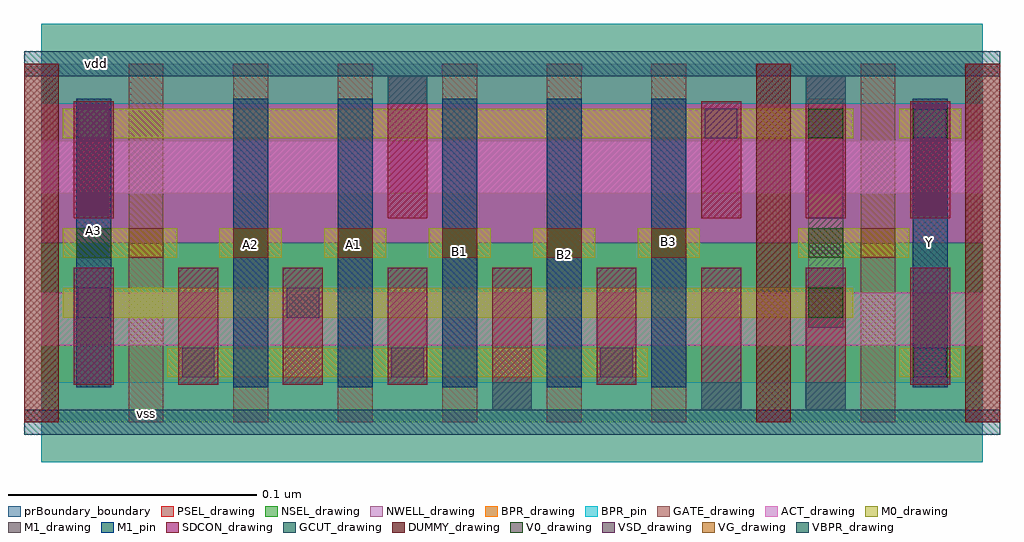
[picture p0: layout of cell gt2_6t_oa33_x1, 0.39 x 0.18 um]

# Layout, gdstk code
import gdstk
lib = gdstk.Library(unit=1e-6, precision=5e-10)
def R(c, l, rs):  # rectangles x0, y0, x1, y1
    for r in rs: c.add(gdstk.rectangle(r[:2], r[2:], *l))
def A(c, l, x, y, w, h, nx, ny, dx, dy):  # array of equal rectangles
    R(c, l, [(x+i*dx, y+j*dy, x+i*dx+w, y+j*dy+h) for i in range(nx) for j in range(ny)])
NWELL_drawing = (1, 0)
ACT_drawing = (2, 0)
GATE_drawing = (3, 0)
DUMMY_drawing = (4, 0)
GCUT_drawing = (5, 0)
NSEL_drawing = (6, 0)
PSEL_drawing = (7, 0)
BPR_drawing = (8, 0)
BPR_pin = (8, 251)
VBPR_drawing = (9, 0)
SDCON_drawing = (10, 0)
VSD_drawing = (11, 0)
VG_drawing = (12, 0)
M0_drawing = (20, 0)
V0_drawing = (22, 0)
M1_drawing = (25, 0)
M1_pin = (25, 251)
prBoundary_boundary = (235, 250)

gt2_6t_oa33_x1 = lib.new_cell('gt2_6t_oa33_x1')
R(gt2_6t_oa33_x1, NWELL_drawing, [(0,0.072,0.378,0.144)])
R(gt2_6t_oa33_x1, ACT_drawing, [(0,0.031,0.378,0.052), (0,0.092,0.378,0.113)])
A(gt2_6t_oa33_x1, GATE_drawing, -0.007, 0, 0.014, 0.144, 10, 1, 0.042, 0)
R(gt2_6t_oa33_x1, DUMMY_drawing, [(-0.007,0,0.007,0.144), (0.287,0,0.301,0.144), (0.371,0,0.385,0.144)])
R(gt2_6t_oa33_x1, GCUT_drawing, [(-0.007,-0.005,0.385,0.005), (-0.007,0.139,0.385,0.149)])
R(gt2_6t_oa33_x1, NSEL_drawing, [(0,0,0.378,0.072)])
R(gt2_6t_oa33_x1, PSEL_drawing, [(0,0.072,0.378,0.144)])
R(gt2_6t_oa33_x1, BPR_drawing, [(0,-0.016,0.378,0.016), (0,0.128,0.378,0.16)])
R(gt2_6t_oa33_x1, BPR_pin, [(0,-0.016,0.378,0.016), (0,0.128,0.378,0.16)])
R(gt2_6t_oa33_x1, VBPR_drawing, [(0.181,0.005,0.197,0.016), (0.265,0.005,0.281,0.016), (0.307,0.005,0.323,0.016), (0.139,0.128,0.155,0.139), (0.307,0.128,0.323,0.139)])
A(gt2_6t_oa33_x1, SDCON_drawing, 0.013, 0.015, 0.016, 0.047, 4, 1, 0.042, 0)
R(gt2_6t_oa33_x1, SDCON_drawing, [(0.181,0.005,0.197,0.062), (0.265,0.005,0.281,0.062), (0.307,0.005,0.323,0.062), (0.223,0.015,0.239,0.062), (0.349,0.015,0.365,0.062), (0.013,0.082,0.029,0.129), (0.139,0.082,0.155,0.139), (0.265,0.082,0.281,0.129), (0.307,0.082,0.323,0.139), (0.349,0.082,0.365,0.129)])
A(gt2_6t_oa33_x1, VSD_drawing, 0.0565, 0.018, 0.013, 0.012, 3, 1, 0.084, 0)
R(gt2_6t_oa33_x1, VSD_drawing, [(0.3505,0.018,0.3635,0.03), (0.0145,0.042,0.0275,0.054), (0.0985,0.042,0.1115,0.054), (0.0145,0.114,0.0275,0.126), (0.2665,0.114,0.2795,0.126), (0.3505,0.114,0.3635,0.126)])
A(gt2_6t_oa33_x1, VG_drawing, 0.035, 0.066, 0.014, 0.012, 6, 1, 0.042, 0)
R(gt2_6t_oa33_x1, VG_drawing, [(0.329,0.066,0.343,0.078)])
A(gt2_6t_oa33_x1, M0_drawing, 0.0715, 0.066, 0.025, 0.012, 5, 1, 0.042, 0)
R(gt2_6t_oa33_x1, M0_drawing, [(0.0505,0.018,0.2435,0.03), (0.3445,0.018,0.3695,0.03), (0.0085,0.042,0.326,0.054), (0.0085,0.066,0.0545,0.078), (0.304,0.066,0.3485,0.078), (0.0085,0.114,0.326,0.126), (0.3445,0.114,0.3695,0.126)])
A(gt2_6t_oa33_x1, V0_drawing, 0.077, 0.066, 0.014, 0.012, 5, 1, 0.042, 0)
R(gt2_6t_oa33_x1, V0_drawing, [(0.35,0.018,0.364,0.03), (0.308,0.042,0.322,0.054), (0.014,0.066,0.028,0.078), (0.308,0.066,0.322,0.078), (0.308,0.114,0.322,0.126), (0.35,0.114,0.364,0.126)])
A(gt2_6t_oa33_x1, M1_drawing, 0.077, 0.014, 0.014, 0.116, 5, 1, 0.042, 0)
R(gt2_6t_oa33_x1, M1_drawing, [(0.014,0.014,0.028,0.13), (0.35,0.014,0.364,0.13), (0.308,0.038,0.322,0.13)])
A(gt2_6t_oa33_x1, M1_pin, 0.077, 0.014, 0.014, 0.116, 5, 1, 0.042, 0)
R(gt2_6t_oa33_x1, M1_pin, [(0.014,0.014,0.028,0.13), (0.35,0.014,0.364,0.13)])
R(gt2_6t_oa33_x1, prBoundary_boundary, [(0,0,0.378,0.144)])
gt2_6t_oa33_x1.add(gdstk.Label('vss', (0.042,0.0035), layer=8, texttype=251))
gt2_6t_oa33_x1.add(gdstk.Label('vdd', (0.022,0.144), layer=8, texttype=251))
gt2_6t_oa33_x1.add(gdstk.Label('B3', (0.252,0.0725), layer=25, texttype=251))
gt2_6t_oa33_x1.add(gdstk.Label('B2', (0.21,0.0675), layer=25, texttype=251))
gt2_6t_oa33_x1.add(gdstk.Label('B1', (0.168,0.0685), layer=25, texttype=251))
gt2_6t_oa33_x1.add(gdstk.Label('A3', (0.021,0.077), layer=25, texttype=251))
gt2_6t_oa33_x1.add(gdstk.Label('Y', (0.3565,0.072), layer=25, texttype=251))
gt2_6t_oa33_x1.add(gdstk.Label('A1', (0.1255,0.0715), layer=25, texttype=251))
gt2_6t_oa33_x1.add(gdstk.Label('A2', (0.084,0.0715), layer=25, texttype=251))

lib.write_gds('gt2_6t_oa33_x1.gds')
